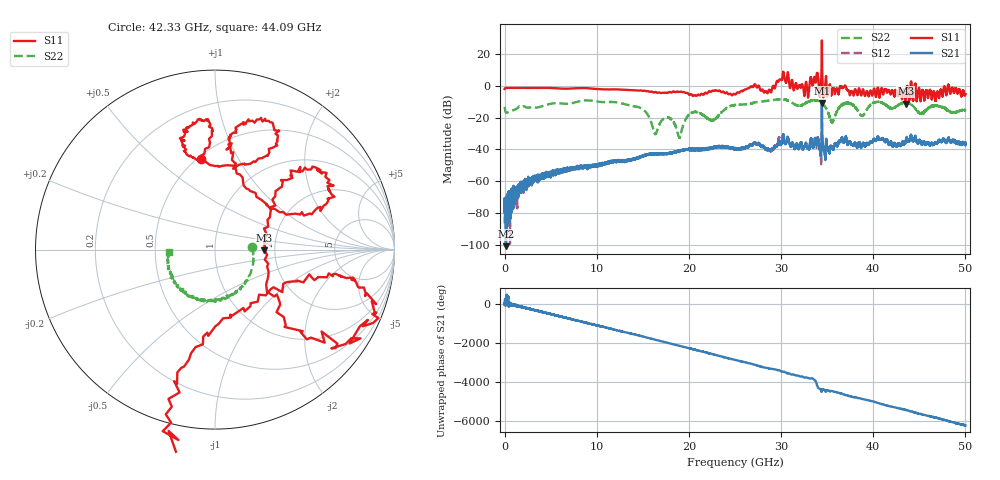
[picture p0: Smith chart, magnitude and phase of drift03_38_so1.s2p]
!Created with skrf (http://scikit-rf.org).
# Hz S RI R 50.0
!freq ReS11 ImS11 ReS21 ImS21 ReS12 ImS12 ReS22 ImS22
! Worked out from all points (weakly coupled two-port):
!   10000 points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, 5.3 MHz to 50 GHz, reference 50 ohm
!   highest |S21| = -10.79 dB at 34.43 GHz (marker M1); lowest = -100.8 dB at 150.3 MHz (marker M2)
!   lowest |S11| = -11.2 dB at 43.52 GHz (marker M3), VSWR 1.76, Z = 88 - j0.713 ohm
!   |S11| at or under -10 dB: 43.49127 GHz to 43.54303 GHz (51.76 MHz wide, 0.119 % of centre)
!   |S22| runs from -32.8 to -8.4 dB; largest |S21 - S12| = 0.098
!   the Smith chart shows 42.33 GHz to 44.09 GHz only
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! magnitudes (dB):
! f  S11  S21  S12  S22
! 5.3 MHz  -2.1  -78.4  -76.7  -13.3
! 150.3 MHz  -1.4  -100.8  -97.9  -16.9
! 2.815 GHz  -1.4  -60.4  -59.2  -13.6
! 8.34 GHz  -1.5  -51.1  -51.6  -9.5
! 14.55 GHz  -3.1  -45.1  -45.1  -13.5
! 16.67 GHz  -4.4  -42.8  -42.8  -26.2
! 17.81 GHz  -4.2  -42.4  -42.4  -20.2
! 18.98 GHz  -3.9  -41.1  -41.1  -32.8
! 20.28 GHz  -5.5  -40.0  -40.5  -17.1
! 22.57 GHz  -3.2  -39.6  -39.0  -21.6
! 25.01 GHz  -5.5  -39.5  -39.7  -12.1
! 28.72 GHz  -2.5  -40.4  -40.2  -9.3
! 30.14 GHz  4.4  -33.6  -33.9  -8.5
! 32.74 GHz  2.0  -36.7  -36.4  -10.7
! 33.34 GHz  2.6  -34.4  -35.2  -9.3
! 34.43 GHz  28.4  -10.8  -12.9  -10.8
! 35.54 GHz  -3.1  -38.8  -39.1  -23.0
! 37.02 GHz  -0.6  -32.0  -32.4  -10.9
! 38.77 GHz  -5.2  -38.1  -38.1  -18.9
! 41.67 GHz  -3.0  -36.9  -36.8  -13.3
! 43.52 GHz  -11.2  -34.9  -35.0  -10.8
! 50 GHz  -5.3  -35.8  -36.1  -15.4
